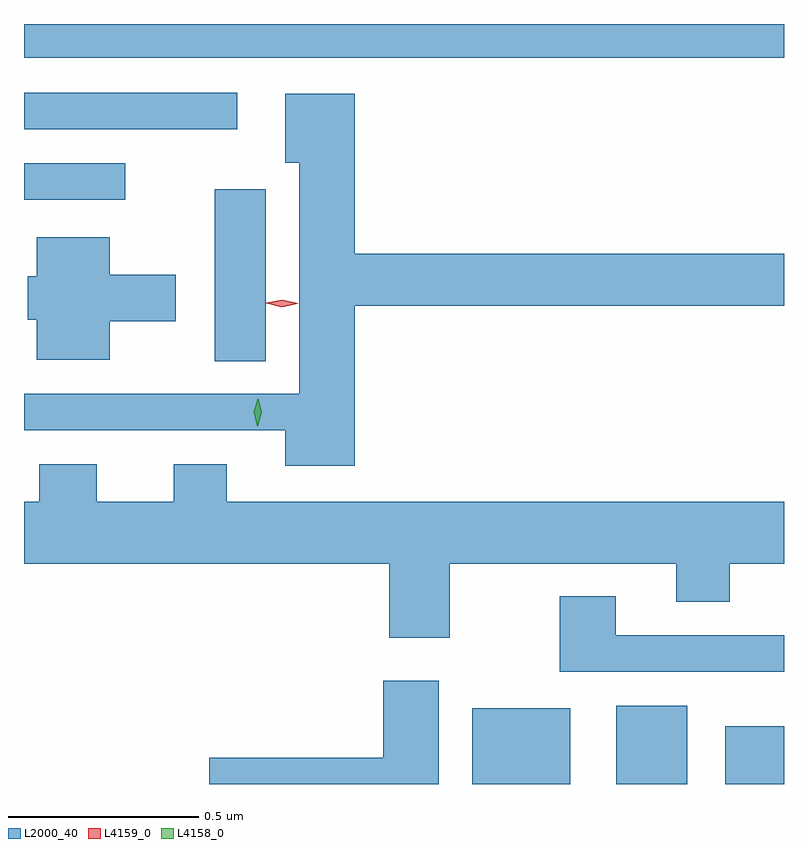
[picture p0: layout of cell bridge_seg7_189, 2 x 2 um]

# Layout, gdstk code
import gdstk
lib = gdstk.Library(unit=1e-6, precision=1e-09)
def R(c, l, rs):  # rectangles x0, y0, x1, y1
    for r in rs: c.add(gdstk.rectangle(r[:2], r[2:], *l))
def P(c, l, *ps):  # polygons
    for p in ps: c.add(gdstk.Polygon(p, *l))
L2000_40 = (2000, 40)
L4158_0 = (4158, 0)
L4159_0 = (4159, 0)

bridge_seg7_189 = lib.new_cell('bridge_seg7_189')
R(bridge_seg7_189, L2000_40, [(396.686,1046.657,396.943,1046.857), (397.064,1046.657,397.252,1046.863), (397.352,1046.657,397.506,1046.809), (396.008,1047.769,396.142,1048.222), (395.506,1048.194,395.773,1048.29), (395.506,1048.38,396.067,1048.476), (395.506,1048.568,397.506,1048.657)])
P(bridge_seg7_189, L2000_40, [(396.377,1047.916),(397.506,1047.916),(397.506,1048.052),(396.377,1048.052),(396.377,1048.474),(396.194,1048.474),(396.194,1048.292),(396.23,1048.292),(396.23,1047.684),(395.506,1047.684),(395.506,1047.588),(396.194,1047.588),(396.194,1047.494),(396.377,1047.494)],
  [(395.731,1047.875),(395.905,1047.875),(395.905,1047.997),(395.731,1047.997),(395.731,1048.096),(395.54,1048.096),(395.54,1047.993),(395.516,1047.993),(395.516,1047.879),(395.54,1047.879),(395.54,1047.773),(395.731,1047.773)],
  [(396.627,1047.236),(397.223,1047.236),(397.223,1047.137),(397.363,1047.137),(397.363,1047.236),(397.506,1047.236),(397.506,1047.4),(396.04,1047.4),(396.04,1047.499),(395.9,1047.499),(395.9,1047.4),(395.698,1047.4),(395.698,1047.499),(395.546,1047.499),(395.546,1047.4),(395.506,1047.4),(395.506,1047.236),(396.467,1047.236),(396.467,1047.042),(396.627,1047.042)],
  [(397.506,1047.048),(397.063,1047.048),(397.063,1047.151),(396.916,1047.151),(396.916,1046.952),(397.506,1046.952)],
  [(396.598,1046.929),(396.452,1046.929),(396.452,1046.726),(395.994,1046.726),(395.994,1046.657),(396.598,1046.657)])
P(bridge_seg7_189, L4158_0, [(396.12,1047.599),(396.12,1047.599),(396.111,1047.635),(396.121,1047.671),(396.121,1047.671),(396.122,1047.671),(396.131,1047.635),(396.121,1047.599)])
P(bridge_seg7_189, L4159_0, [(396.184,1047.912),(396.144,1047.922),(396.143,1047.923),(396.144,1047.923),(396.185,1047.932),(396.226,1047.922),(396.226,1047.922),(396.226,1047.921)])

lib.write_gds('bridge_seg7_189.gds')
